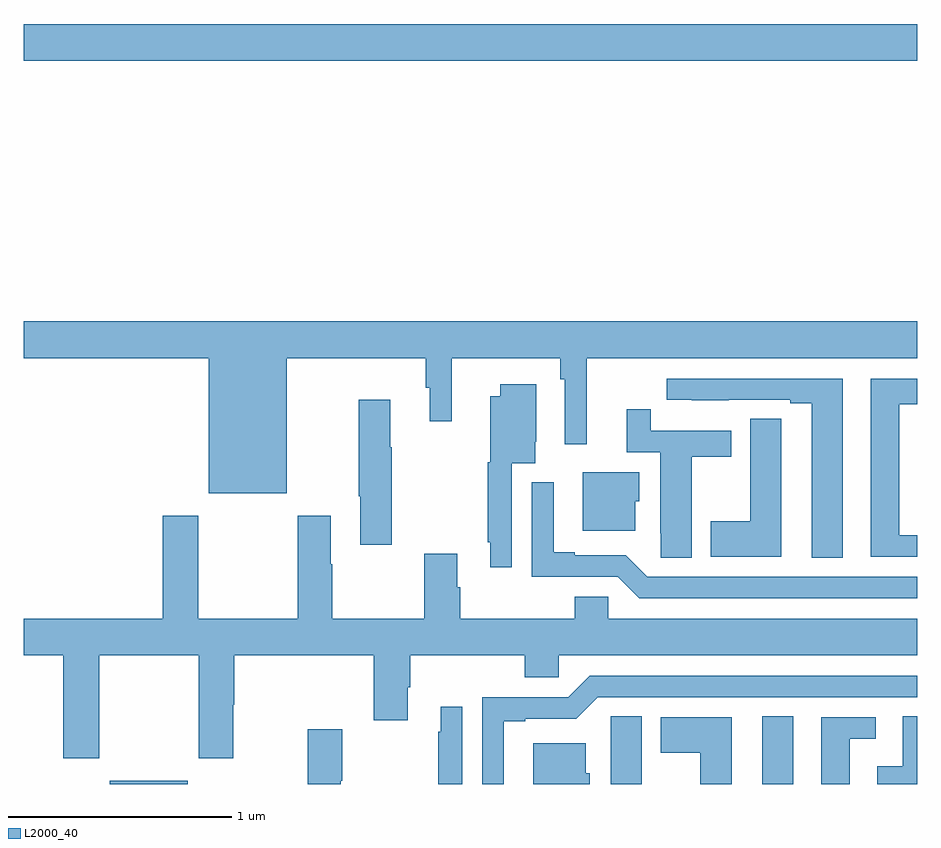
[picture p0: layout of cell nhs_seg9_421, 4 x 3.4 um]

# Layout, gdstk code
import gdstk
lib = gdstk.Library(unit=1e-6, precision=1e-09)
def R(c, l, rs):  # rectangles x0, y0, x1, y1
    for r in rs: c.add(gdstk.rectangle(r[:2], r[2:], *l))
def P(c, l, *ps):  # polygons
    for p in ps: c.add(gdstk.Polygon(p, *l))
L2000_40 = (2000, 40)

nhs_seg9_421 = lib.new_cell('nhs_seg9_421')
R(nhs_seg9_421, L2000_40, [(131.384,1206.5,131.734,1206.514), (134.306,1206.5,134.446,1206.803), (131,1209.74,135,1209.904)])
P(nhs_seg9_421, L2000_40, [(132.178,1208.408),(132.799,1208.408),(132.799,1208.274),(132.818,1208.274),(132.818,1208.124),(132.917,1208.124),(132.917,1208.408),(133.402,1208.408),(133.402,1208.312),(133.422,1208.312),(133.422,1208.022),(133.52,1208.022),(133.52,1208.408),(135,1208.408),(135,1208.572),(131,1208.572),(131,1208.408),(131.828,1208.408),(131.828,1207.802),(132.178,1207.802)],
  [(135,1207.614),(134.92,1207.614),(134.92,1208.2),(135,1208.2),(135,1208.316),(134.792,1208.316),(134.792,1207.518),(135,1207.518)],
  [(134.668,1208.316),(133.878,1208.316),(133.878,1208.22),(133.99,1208.22),(133.99,1208.219),(134.156,1208.219),(134.156,1208.22),(134.432,1208.22),(134.432,1208.205),(134.528,1208.205),(134.528,1207.513),(134.668,1207.513)],
  [(133.185,1207.937),(133.291,1207.937),(133.291,1208.034),(133.294,1208.034),(133.294,1208.29),(133.133,1208.29),(133.133,1208.236),(133.088,1208.236),(133.088,1207.941),(133.077,1207.941),(133.077,1207.582),(133.088,1207.582),(133.088,1207.47),(133.185,1207.47)],
  [(132.648,1208.008),(132.64,1208.008),(132.64,1208.221),(132.499,1208.221),(132.499,1207.789),(132.506,1207.789),(132.506,1207.572),(132.648,1207.572)],
  [(133.99,1207.966),(134.167,1207.966),(134.167,1208.082),(133.808,1208.082),(133.808,1208.179),(133.7,1208.179),(133.7,1207.986),(133.85,1207.986),(133.85,1207.624),(133.851,1207.624),(133.851,1207.513),(133.99,1207.513)],
  [(134.392,1208.027),(134.391,1208.027),(134.391,1208.135),(134.252,1208.135),(134.252,1207.677),(134.075,1207.677),(134.075,1207.517),(134.392,1207.517)],
  [(133.738,1207.767),(133.756,1207.767),(133.756,1207.897),(133.502,1207.897),(133.502,1207.634),(133.738,1207.634)],
  [(135,1207.428),(133.791,1207.428),(133.695,1207.524),(133.468,1207.524),(133.468,1207.537),(133.372,1207.537),(133.372,1207.852),(133.275,1207.852),(133.275,1207.428),(133.659,1207.428),(133.755,1207.332),(135,1207.332)],
  [(131.337,1207.076),(131.782,1207.076),(131.782,1206.615),(131.937,1206.615),(131.937,1206.854),(131.942,1206.854),(131.942,1207.076),(132.566,1207.076),(132.566,1206.786),(132.718,1206.786),(132.718,1206.934),(132.731,1206.934),(132.731,1207.076),(133.244,1207.076),(133.244,1206.978),(133.395,1206.978),(133.395,1207.076),(135,1207.076),(135,1207.24),(133.617,1207.24),(133.617,1207.338),(133.466,1207.338),(133.466,1207.24),(132.953,1207.24),(132.953,1207.382),(132.94,1207.382),(132.94,1207.531),(132.793,1207.531),(132.793,1207.24),(132.381,1207.24),(132.381,1207.484),(132.373,1207.484),(132.373,1207.702),(132.226,1207.702),(132.226,1207.24),(131.781,1207.24),(131.781,1207.702),(131.621,1207.702),(131.621,1207.24),(131,1207.24),(131,1207.076),(131.177,1207.076),(131.177,1206.615),(131.337,1206.615)],
  [(133.15,1206.78),(133.246,1206.78),(133.246,1206.792),(133.473,1206.792),(133.569,1206.888),(135,1206.888),(135,1206.984),(133.533,1206.984),(133.437,1206.888),(133.053,1206.888),(133.053,1206.5),(133.15,1206.5)],
  [(132.963,1206.847),(132.866,1206.847),(132.866,1206.734),(132.855,1206.734),(132.855,1206.5),(132.963,1206.5)],
  [(135,1206.803),(134.936,1206.803),(134.936,1206.58),(134.822,1206.58),(134.822,1206.5),(135,1206.5)],
  [(133.768,1206.803),(133.629,1206.803),(133.629,1206.692),(133.628,1206.692),(133.628,1206.5),(133.768,1206.5)],
  [(134.17,1206.799),(133.853,1206.799),(133.853,1206.64),(134.03,1206.64),(134.03,1206.5),(134.17,1206.5)],
  [(134.698,1206.702),(134.815,1206.702),(134.815,1206.798),(134.57,1206.798),(134.57,1206.5),(134.698,1206.5)],
  [(132.418,1206.514),(132.426,1206.514),(132.426,1206.745),(132.272,1206.745),(132.272,1206.5),(132.418,1206.5)],
  [(133.534,1206.549),(133.516,1206.549),(133.516,1206.682),(133.28,1206.682),(133.28,1206.5),(133.534,1206.5)])

lib.write_gds('nhs_seg9_421.gds')
